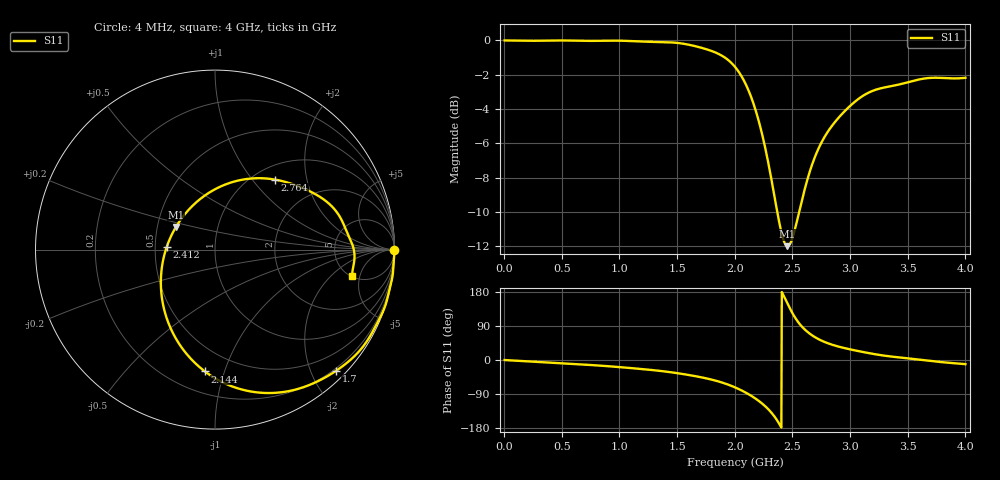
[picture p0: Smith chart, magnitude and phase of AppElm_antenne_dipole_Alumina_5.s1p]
! TOUCHSTONE file generated by CST MICROWAVE STUDIO
! Date and time: Sat May 14 10:20:42 2022
! Project name: AppElm_antenne_dipole_Alumina.cst
! Parameters = {L=33; e=0.035; f=2.45e+09; h=1.6; i=0.8; l1=1.9; lambda=122.449; ls=30; wl=1.7; ws=80}
! Header version: 2018
! Port assignment regex: !\s*Touchstone port\s*([0-9]+)\s*=\s*(CST MWS port|CST DS port)\s*([0-9]+|Zmin|Zmax)\s*\(\"(.*)\"\)(\s*mode\s*([0-9]+))?.*
! Touchstone port assignment:
! Touchstone port 1 = CST MWS port 1 ("")
# GHz S MA R 50
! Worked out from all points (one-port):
!   1000 points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, 4 MHz to 4 GHz, reference 50 ohm
!   lowest |S11| = -12.0 dB at 2.456 GHz (marker M1), VSWR 1.67, Z = 31.3 + j8.42 ohm
!   |S11| at or under -10 dB: 2.369 GHz to 2.558 GHz (189.1 MHz wide, 7.68 % of centre)
!   S11 on the Smith chart (normalised r, x): 4 MHz: open; 1.7 GHz: 0.16, -2.40; 2.144 GHz: 0.34, -0.86; 2.412 GHz: 0.58, +0.02; 2.764 GHz: 1.23, +1.31; 4 GHz: 5.10, -3.81
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0.004  1 -0.1
0.504  1 -8.6
1.004  0.9984 -18.8
1.32  0.9901 -27.6
1.504  0.9834 -34.8
1.7  0.9542 -45.1
1.788  0.9346 -50.9
1.864  0.9121 -57.1
1.932  0.8828 -63.8
2.004  0.8361 -72.5
2.076  0.7678 -82.9
2.144  0.6814 -94.7
2.22  0.5623 -110.7
2.284  0.4517 -127.8
2.348  0.3458 -150.7
2.412  0.2696 177.0
2.456  0.2516 149.9
2.504  0.2683 121.6
2.56  0.3184 96.1
2.62  0.383 76.9
2.684  0.4475 62.4
2.764  0.5132 49.5
2.868  0.5781 38.1
3.004  0.6464 27.8
3.212  0.7165 15.4
3.504  0.7558 4.3
3.692  0.7778 -2.3
4  0.7783 -10.9
